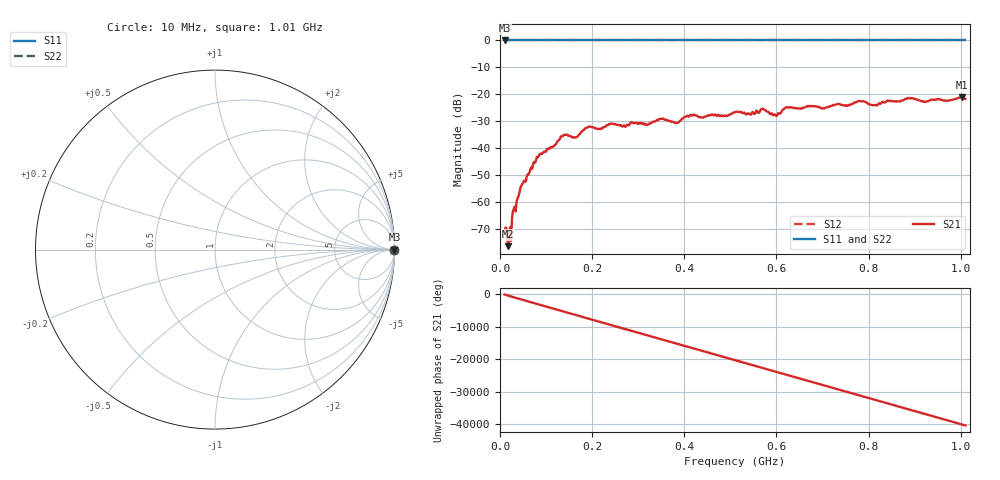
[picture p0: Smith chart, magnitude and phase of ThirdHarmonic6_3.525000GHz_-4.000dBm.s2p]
! 8/17/2025 11:34:13 AM
! C:\ANRITSUVNA\TEMP\TEMP.S2P
! CHANNEL.1
! TR.MEASUREMENT
! RAW.DATA
! RF.CORRECTION.OFF
! AVERAGING.OFF
! IF.BANDWIDTH: 5KHZ
! SWEEPTYPE:  FREQ.SWEEP(Linear)
! Reference Plane Port Info
! PORT:  PORT1  PORT2
! DISTANCE:  0  m  0  m
! TIME:  0  s  0  s
! PHASE.OFFSET:  0  deg.  0  deg.
! LOSS:  0  dB  0  dB
! REF.LOSS:  0  dB  0  dB
! REF.FREQ:  0  Hz  0  Hz
! Power Info
! POWER:  -20  dBm  -20  dBm
! EFF.POWER:  -20  dBm  -20  dBm
! SOURCE.ATTEN:  0  dB  0  dB
! TEST.ATTEN:  0  dB  0  dB
# GHZ S RI R 50.0
! FREQ.GHZ  S11RE  S11IM  S21RE  S21IM  S12RE  S12IM  S22RE  S22IM
!; PortSelection: Port_12
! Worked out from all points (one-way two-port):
!   501 points, 10 MHz to 1.01 GHz, reference 50 ohm
!   highest |S21| = -21.09 dB at 1.002 GHz (marker M1); lowest = -76.6 dB at 18 MHz (marker M2)
!   lowest |S11| = 0.0 dB at 10 MHz (marker M3)
!   |S11| at or under -10 dB: nowhere
!   |S22| runs from 0.0 to 0.0 dB; largest |S21 - S12| = 1.1
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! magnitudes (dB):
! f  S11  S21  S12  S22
! 10 MHz  0.0  -71.4  0.0  0.0
! 18 MHz  0.0  -76.6  0.0  0.0
! 20 MHz  0.0  -72.1  0.0  0.0
! 30 MHz  0.0  -62.6  0.0  0.0
! 48 MHz  0.0  -53.5  0.0  0.0
! 84 MHz  0.0  -43.1  0.0  0.0
! 136 MHz  0.0  -35.6  0.0  0.0
! 162 MHz  0.0  -36.2  0.0  0.0
! 178 MHz  0.0  -33.8  0.0  0.0
! 194 MHz  0.0  -32.0  0.0  0.0
! 318 MHz  0.0  -31.3  0.0  0.0
! 344 MHz  0.0  -29.6  0.0  0.0
! 384 MHz  0.0  -30.7  0.0  0.0
! 410 MHz  0.0  -28.3  0.0  0.0
! 510 MHz  0.0  -26.7  0.0  0.0
! 570 MHz  0.0  -25.4  0.0  0.0
! 598 MHz  0.0  -27.6  0.0  0.0
! 622 MHz  0.0  -25.0  0.0  0.0
! 678 MHz  0.0  -24.5  0.0  0.0
! 844 MHz  0.0  -22.5  0.0  0.0
! 1.002 GHz  0.0  -21.1  0.0  0.0
! 1.01 GHz  0.0  -21.8  0.0  0.0
